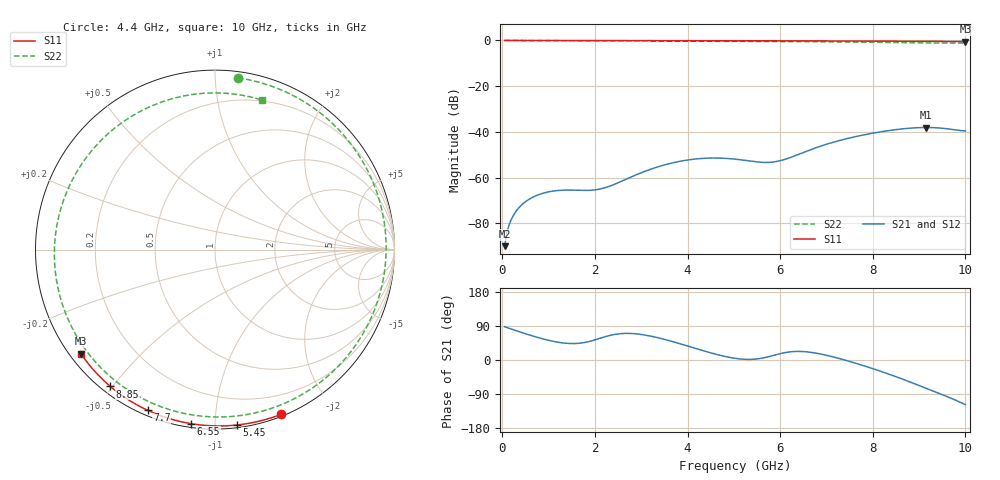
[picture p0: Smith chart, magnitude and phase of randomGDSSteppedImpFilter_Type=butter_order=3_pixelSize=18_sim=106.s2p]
! freq	dB(S11)	phase(S11)	dB(S12)	phase(S12)
!  dB(S21)	phase(S21)	dB(S22)	phase(S22)
!S-par simulation data
#  GHz  S  DB  R 50
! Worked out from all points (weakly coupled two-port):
!   200 points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, 50 MHz to 10 GHz, reference 50 ohm
!   highest |S21| = -38.07 dB at 9.15 GHz (marker M1); lowest = -90.0 dB at 50 MHz (marker M2)
!   lowest |S11| = -0.5 dB at 10 GHz (marker M3), VSWR 35.76, Z = 1.56 - j17.1 ohm
!   |S11| at or under -10 dB: nowhere
!   |S22| runs from -1.2 to 0.0 dB; largest |S21 - S12| = 0
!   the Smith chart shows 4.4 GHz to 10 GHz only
!   S11 on the Smith chart (normalised r, x): 4.4 GHz: 0.02, -1.48; 5.45 GHz: 0.02, -1.13; 6.55 GHz: 0.02, -0.87; 7.7 GHz: 0.02, -0.66; 8.85 GHz: 0.03, -0.49; 10 GHz: 0.03, -0.34
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0.05  -0.00 -0.8  -89.97 87.8  -89.97 87.8  -0.00 -3.5
0.15  -0.00 -2.5  -80.49 83.6  -80.49 83.6  -0.01 -10.4
0.5  -0.01 -8.1  -70.54 69.4  -70.54 69.4  -0.05 -34.3
0.95  -0.02 -15.4  -66.43 53.4  -66.43 53.4  -0.08 -64.2
1.35  -0.03 -21.8  -65.45 44.5  -65.45 44.5  -0.11 -89.8
1.75  -0.04 -28.2  -65.57 45.6  -65.57 45.6  -0.13 -114.4
2.6  -0.05 -41.4  -61.34 69.9  -61.34 69.9  -0.18 -164.8
3.4  -0.07 -53.6  -55.03 57.6  -55.03 57.6  -0.23 147.3
3.95  -0.08 -61.7  -52.44 38.8  -52.44 38.8  -0.27 112.4
4.4  -0.10 -68.2  -51.49 22.3  -51.49 22.3  -0.31 82.3
5.05  -0.12 -77.5  -51.96 4.0  -51.96 4.0  -0.36 37.3
5.45  -0.13 -83.0  -53.00 2.2  -53.00 2.2  -0.40 9.6
5.95  -0.16 -89.8  -52.83 15.3  -52.83 15.3  -0.45 -24.0
6.55  -0.19 -97.8  -48.61 21.8  -48.61 21.8  -0.53 -61.8
6.7  -0.19 -99.8  -47.46 19.6  -47.46 19.6  -0.55 -70.8
7.2  -0.22 -106.3  -44.21 6.4  -44.21 6.4  -0.64 -100.0
7.7  -0.26 -112.8  -41.74 -11.1  -41.74 -11.1  -0.75 -128.5
8.35  -0.31 -121.1  -39.40 -37.4  -39.40 -37.4  -0.91 -166.6
8.85  -0.36 -127.4  -38.30 -60.2  -38.30 -60.2  -1.04 161.4
9.15  -0.39 -131.2  -38.07 -74.5  -38.07 -74.5  -1.10 140.5
9.6  -0.44 -137.0  -38.61 -96.3  -38.61 -96.3  -1.17 106.1
10  -0.49 -142.2  -39.59 -117.8  -39.59 -117.8  -1.17 72.8
